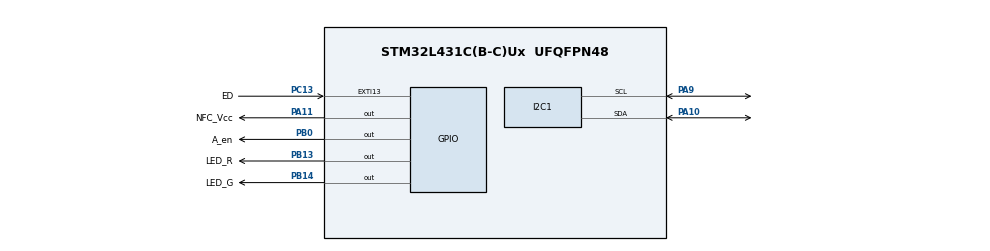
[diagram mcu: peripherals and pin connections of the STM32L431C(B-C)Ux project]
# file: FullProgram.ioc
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ADC1.Channel-0\#ChannelRegularConversion=ADC_CHANNEL_VREFINT
ADC1.ClockPrescaler=ADC_CLOCK_ASYNC_DIV8
ADC1.ContinuousConvMode=DISABLE
ADC1.NbrOfConversion=1
ADC1.NbrOfConversionFlag=1
ADC1.OffsetNumber-0\#ChannelRegularConversion=ADC_OFFSET_NONE
ADC1.Rank-0\#ChannelRegularConversion=1
ADC1.SamplingTime-0\#ChannelRegularConversion=ADC_SAMPLETIME_2CYCLES_5
ADC1.master=1
I2C1.Timing=0x00100D14
Mcu.Family=STM32L4
Mcu.Name=STM32L431C(B-C)Ux
Mcu.Package=UFQFPN48
NVIC.EXTI15_10_IRQn=true\:0\:0\:false\:false\:true\:true\:true\:true
NVIC.PriorityGroup=NVIC_PRIORITYGROUP_4
PA10.Mode=I2C
PA10.Signal=I2C1_SDA
PA11.GPIO_Label=NFC_Vcc
PA11.Signal=GPIO_Output
PA9.Mode=I2C
PA9.Signal=I2C1_SCL
PB0.GPIO_Label=A_en
PB0.Signal=GPIO_Output
PB13.GPIO_Label=LED_R
PB13.Signal=GPIO_Output
PB14.GPIO_Label=LED_G
PB14.Signal=GPIO_Output
PC13.GPIO_Label=ED
PC13.GPIO_ModeDefaultEXTI=GPIO_MODE_IT_FALLING
PC13.GPIO_PuPd=GPIO_NOPULL
PC13.Signal=GPXTI13
ProjectManager.HeapSize=0x200
ProjectManager.StackSize=0x400
ProjectManager.TargetToolchain=STM32CubeIDE
RCC.ADCFreq_Value=32000000
RCC.HSE_VALUE=8000000
RCC.HSI48_VALUE=48000000
RCC.HSI_VALUE=16000000
RCC.LSE_VALUE=32768
RCC.MSI_VALUE=4000000
RCC.PLLSAI1N=16
RCC.VCOOutputFreq_Value=32000000
VP_ADC1_Vref_Input.Mode=IN-Vrefint
board=custom

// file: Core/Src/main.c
/* USER CODE BEGIN Header */
/**
  ******************************************************************************
  * @file           : main.c
  * @brief          : Main program body
  ******************************************************************************
  * @attention
  *
  * Copyright (c) 2025 STMicroelectronics.
  * All rights reserved.
  *
  * This software is licensed under terms that can be found in the LICENSE file
  * in the root directory of this software component.
  * If no LICENSE file comes with this software, it is provided AS-IS.
  *
  ******************************************************************************
  */
/* USER CODE END Header */
#include "main.h"

/* USER CODE BEGIN PD */
#define NTP_ADDRESS  0xA8
//#define  VREFINT_CAL_ADDR 0x1FFF75AA //Data sheet page 39

//SCB->VTOR = FLASH_BASE | 0x00000000U;
/* USER CODE END PD */

ADC_HandleTypeDef hadc1;

I2C_HandleTypeDef hi2c1;

/* USER CODE BEGIN PV */

//I2C
uint8_t tx_buffer[6] = {0x00, 0x02, 0xBA, 0xDB, 0x01, 0xBB};
uint8_t rx_address[2] = {0x00, 0x02};
uint8_t rx_buffer[4];

//ADC
uint32_t adc_val = 10;
uint32_t voltage = 0;
//uint16_t* VREFINT_CAL_ADDR = 0x1FFF75AA;
//uint16_t VREFINT_CAL = *((uint16_t*)VREFINT_CAL_ADDR); //Data sheet page 39

//MISC
uint8_t count1 = 0;

uint8_t b3 = 0x00;
uint8_t b2 = 0x00;
uint8_t b1 = 0x00;
uint8_t b0 = 0x01;

/* USER CODE END PV */

void SystemClock_Config(void);
static void MX_GPIO_Init(void);
static void MX_I2C1_Init(void);
static void MX_ADC1_Init(void);
/* USER CODE BEGIN PFP */

void NTP_Write_eeprom(uint8_t BL_AD1, uint8_t BL_AD0, uint8_t DATA0, uint8_t DATA1, uint8_t DATA2, uint8_t DATA3);
void NTP_Read_eeprom(uint8_t BL_AD1, uint8_t BL_AD0, uint8_t* target);

/* USER CODE END PFP */

int main(void)
{

  /* MCU Configuration--------------------------------------------------------*/

  /* Reset of all peripherals, Initializes the Flash interface and the Systick. */
  HAL_Init();

  /* Configure the system clock */
  SystemClock_Config();

  /* USER CODE BEGIN SysInit */
  SCB->VTOR = FLASH_BASE | 0x00000000U;
  /* USER CODE END SysInit */

  /* Initialize all configured peripherals */
  MX_GPIO_Init();
  MX_I2C1_Init();
  MX_ADC1_Init();
  /* USER CODE BEGIN 2 */
  HAL_GPIO_WritePin(LED_R_GPIO_Port, LED_R_Pin, 1);
  // INITIALIZE NTP5332
  HAL_Delay(50);
  HAL_GPIO_WritePin(NFC_Vcc_GPIO_Port, NFC_Vcc_Pin, 1);
  NTP_Write_eeprom(0x10, 0x3D, 0b00000101,0x00,0x01,0x00);
  HAL_GPIO_WritePin(NFC_Vcc_GPIO_Port, NFC_Vcc_Pin, 0);
  HAL_Delay(50);

  //ADC
  uint16_t VREFINT_CAL = *((uint16_t*)VREFINT_CAL_ADDR); //Data sheet page 39

  HAL_GPIO_WritePin(LED_R_GPIO_Port, LED_R_Pin, 0);
  /* USER CODE END 2 */

  /* Infinite loop */
  while (1)
  {

    /* USER CODE BEGIN 3 */

	  HAL_GPIO_WritePin(LED_G_GPIO_Port, LED_G_Pin, 1);

	  //READ CAPACITOR VOLTAGE
	  HAL_GPIO_WritePin(A_en_GPIO_Port, A_en_Pin, 1);
	  HAL_Delay(50);

	  HAL_ADC_Start(&hadc1);

	  if (HAL_ADC_PollForConversion(&hadc1, 2000) == HAL_OK){

		  adc_val = HAL_ADC_GetValue(&hadc1);

		  if (adc_val > 0) {
			  voltage = VREFINT_CAL * 3000/adc_val; //Reference sheet page 453

		  } else {
			  voltage = 0;
		  }
	  } else {
		  voltage = 0;
	  }

	  HAL_ADC_Stop(&hadc1);
	  //HAL_Delay(500);
	  HAL_GPIO_WritePin(A_en_GPIO_Port, A_en_Pin, 0);

	  //WRITE VOLTAGE TO CHIP
	  //Prepare data
	  b3 = (uint8_t)(voltage>>24);
	  b2 = (uint8_t)(voltage>>16);
	  b1 = (uint8_t)(voltage>>8);
	  b0 = (uint8_t)(voltage>>0);

	  //Send data
	  HAL_GPIO_WritePin(NFC_Vcc_GPIO_Port, NFC_Vcc_Pin, 1);
	  NTP_Write_eeprom(0x00, count1, 0x00,count1,b1,b0);
	  //HAL_GPIO_WritePin(NFC_Vcc_GPIO_Port, NFC_Vcc_Pin, 0);

	  ++count1;

	  HAL_GPIO_WritePin(LED_G_GPIO_Port, LED_G_Pin, 0);

	  //ENTER STOPMODE
	  HAL_SuspendTick();
	  HAL_PWREx_EnterSTOP2Mode(PWR_SLEEPENTRY_WFI);
	  HAL_ResumeTick();

	  HAL_ADC_MspInit(&hadc1);
	  //__HAL_RCC_ADC_CLK_ENABLE();
  }
  /* USER CODE END 3 */
}

void SystemClock_Config(void)
{
  RCC_OscInitTypeDef RCC_OscInitStruct = {0};
  RCC_ClkInitTypeDef RCC_ClkInitStruct = {0};

  /** Configure the main internal regulator output voltage
  */
  if (HAL_PWREx_ControlVoltageScaling(PWR_REGULATOR_VOLTAGE_SCALE1) != HAL_OK)
  {
    Error_Handler();
  }

  /** Initializes the RCC Oscillators according to the specified parameters
  * in the RCC_OscInitTypeDef structure.
  */
  RCC_OscInitStruct.OscillatorType = RCC_OSCILLATORTYPE_MSI;
  RCC_OscInitStruct.MSIState = RCC_MSI_ON;
  RCC_OscInitStruct.MSICalibrationValue = 0;
  RCC_OscInitStruct.MSIClockRange = RCC_MSIRANGE_6;
  RCC_OscInitStruct.PLL.PLLState = RCC_PLL_NONE;
  if (HAL_RCC_OscConfig(&RCC_OscInitStruct) != HAL_OK)
  {
    Error_Handler();
  }

  /** Initializes the CPU, AHB and APB buses clocks
  */
  RCC_ClkInitStruct.ClockType = RCC_CLOCKTYPE_HCLK|RCC_CLOCKTYPE_SYSCLK
                              |RCC_CLOCKTYPE_PCLK1|RCC_CLOCKTYPE_PCLK2;
  RCC_ClkInitStruct.SYSCLKSource = RCC_SYSCLKSOURCE_MSI;
  RCC_ClkInitStruct.AHBCLKDivider = RCC_SYSCLK_DIV1;
  RCC_ClkInitStruct.APB1CLKDivider = RCC_HCLK_DIV1;
  RCC_ClkInitStruct.APB2CLKDivider = RCC_HCLK_DIV1;

  if (HAL_RCC_ClockConfig(&RCC_ClkInitStruct, FLASH_LATENCY_0) != HAL_OK)
  {
    Error_Handler();
  }
}

static void MX_ADC1_Init(void)
{

  ADC_ChannelConfTypeDef sConfig = {0};

  /** Common config
  */
  hadc1.Instance = ADC1;
  hadc1.Init.ClockPrescaler = ADC_CLOCK_ASYNC_DIV8;
  hadc1.Init.Resolution = ADC_RESOLUTION_12B;
  hadc1.Init.DataAlign = ADC_DATAALIGN_RIGHT;
  hadc1.Init.ScanConvMode = ADC_SCAN_DISABLE;
  hadc1.Init.EOCSelection = ADC_EOC_SINGLE_CONV;
  hadc1.Init.LowPowerAutoWait = DISABLE;
  hadc1.Init.ContinuousConvMode = DISABLE;
  hadc1.Init.NbrOfConversion = 1;
  hadc1.Init.DiscontinuousConvMode = DISABLE;
  hadc1.Init.ExternalTrigConv = ADC_SOFTWARE_START;
  hadc1.Init.ExternalTrigConvEdge = ADC_EXTERNALTRIGCONVEDGE_NONE;
  hadc1.Init.DMAContinuousRequests = DISABLE;
  hadc1.Init.Overrun = ADC_OVR_DATA_PRESERVED;
  hadc1.Init.OversamplingMode = DISABLE;
  if (HAL_ADC_Init(&hadc1) != HAL_OK)
  {
    Error_Handler();
  }

  /** Configure Regular Channel
  */
  sConfig.Channel = ADC_CHANNEL_VREFINT;
  sConfig.Rank = ADC_REGULAR_RANK_1;
  sConfig.SamplingTime = ADC_SAMPLETIME_2CYCLES_5;
  sConfig.SingleDiff = ADC_SINGLE_ENDED;
  sConfig.OffsetNumber = ADC_OFFSET_NONE;
  sConfig.Offset = 0;
  if (HAL_ADC_ConfigChannel(&hadc1, &sConfig) != HAL_OK)
  {
    Error_Handler();
  }

}

static void MX_I2C1_Init(void)
{

  hi2c1.Instance = I2C1;
  hi2c1.Init.Timing = 0x00100D14;
  hi2c1.Init.OwnAddress1 = 0;
  hi2c1.Init.AddressingMode = I2C_ADDRESSINGMODE_7BIT;
  hi2c1.Init.DualAddressMode = I2C_DUALADDRESS_DISABLE;
  hi2c1.Init.OwnAddress2 = 0;
  hi2c1.Init.OwnAddress2Masks = I2C_OA2_NOMASK;
  hi2c1.Init.GeneralCallMode = I2C_GENERALCALL_DISABLE;
  hi2c1.Init.NoStretchMode = I2C_NOSTRETCH_DISABLE;
  if (HAL_I2C_Init(&hi2c1) != HAL_OK)
  {
    Error_Handler();
  }

  /** Configure Analogue filter
  */
  if (HAL_I2CEx_ConfigAnalogFilter(&hi2c1, I2C_ANALOGFILTER_ENABLE) != HAL_OK)
  {
    Error_Handler();
  }

  /** Configure Digital filter
  */
  if (HAL_I2CEx_ConfigDigitalFilter(&hi2c1, 0) != HAL_OK)
  {
    Error_Handler();
  }

}

static void MX_GPIO_Init(void)
{
  GPIO_InitTypeDef GPIO_InitStruct = {0};

  /* GPIO Ports Clock Enable */
  __HAL_RCC_GPIOC_CLK_ENABLE();
  __HAL_RCC_GPIOB_CLK_ENABLE();
  __HAL_RCC_GPIOA_CLK_ENABLE();

  /*Configure GPIO pin Output Level */
  HAL_GPIO_WritePin(GPIOB, A_en_Pin|LED_R_Pin|LED_G_Pin, GPIO_PIN_RESET);

  /*Configure GPIO pin Output Level */
  HAL_GPIO_WritePin(NFC_Vcc_GPIO_Port, NFC_Vcc_Pin, GPIO_PIN_RESET);

  /*Configure GPIO pin : ED_Pin */
  GPIO_InitStruct.Pin = ED_Pin;
  GPIO_InitStruct.Mode = GPIO_MODE_IT_FALLING;
  GPIO_InitStruct.Pull = GPIO_NOPULL;
  HAL_GPIO_Init(ED_GPIO_Port, &GPIO_InitStruct);

  /*Configure GPIO pins : A_en_Pin LED_R_Pin LED_G_Pin */
  GPIO_InitStruct.Pin = A_en_Pin|LED_R_Pin|LED_G_Pin;
  GPIO_InitStruct.Mode = GPIO_MODE_OUTPUT_PP;
  GPIO_InitStruct.Pull = GPIO_NOPULL;
  GPIO_InitStruct.Speed = GPIO_SPEED_FREQ_LOW;
  HAL_GPIO_Init(GPIOB, &GPIO_InitStruct);

  /*Configure GPIO pin : NFC_Vcc_Pin */
  GPIO_InitStruct.Pin = NFC_Vcc_Pin;
  GPIO_InitStruct.Mode = GPIO_MODE_OUTPUT_PP;
  GPIO_InitStruct.Pull = GPIO_NOPULL;
  GPIO_InitStruct.Speed = GPIO_SPEED_FREQ_LOW;
  HAL_GPIO_Init(NFC_Vcc_GPIO_Port, &GPIO_InitStruct);

  /* EXTI interrupt init*/
  HAL_NVIC_SetPriority(EXTI15_10_IRQn, 0, 0);
  HAL_NVIC_EnableIRQ(EXTI15_10_IRQn);

}

/* USER CODE BEGIN 4 */

void NTP_Write_eeprom(uint8_t BL_AD1, uint8_t BL_AD0, uint8_t DATA0, uint8_t DATA1, uint8_t DATA2, uint8_t DATA3){

	uint8_t tx_buff[6] = {BL_AD1, BL_AD0, DATA0, DATA1, DATA2, DATA3};

	HAL_I2C_Master_Transmit(&hi2c1, NTP_ADDRESS, tx_buff, 6, 2);

}

void NTP_Read_eeprom(uint8_t BL_AD1, uint8_t BL_AD0, uint8_t* target){

	uint8_t rx_add[2] = {BL_AD1, BL_AD0};

	HAL_I2C_Master_Transmit(&hi2c1, NTP_ADDRESS, rx_add, 2, 2);
	HAL_I2C_Master_Receive(&hi2c1, NTP_ADDRESS, target, 4, 1);
}

void HAL_GPIO_EXTI_Callback(uint16_t GPIO_Pin) {

}

/* USER CODE END 4 */

void Error_Handler(void)
{
  __disable_irq();
  while (1)
  {
  }
}
